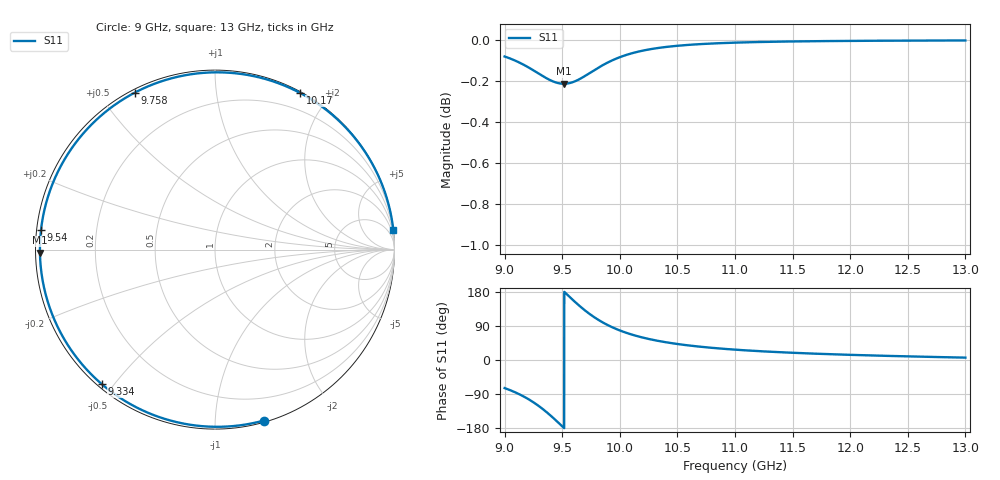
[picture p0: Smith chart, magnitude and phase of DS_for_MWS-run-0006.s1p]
! TOUCHSTONE file generated by CST DESIGN STUDIO
! Date and time: Tue Feb  4 15:47:18 2025
! Project name: C:\Work\MatlabApps\UnitCellOptimizationMatlab\CST\unitcell.cst
! Tree item: Tasks\Sweep1\SPara1\S-Parameters
! Header version: 2024
! Port assignment regex: !\s*Touchstone port\s*([0-9]+)\s*=\s*(CST MWS port|CST DES external port|CST DES block port)\s*(.+)\s* \(\"(.*)\"\)(\s*mode\s*([0-9]+))?.*
! Touchstone port assignment:
! Touchstone port 1 = CST DES external port 1 ("")
# GHz S MA R 50
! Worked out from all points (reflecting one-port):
!   4001 points, 9 GHz to 13 GHz, reference 50 ohm
!   lowest |S11| = -0.2 dB at 9.514 GHz (marker M1), VSWR 80.74, Z = 0.619 - j0.438 ohm
!   phase of S11 starts at -74 deg and turns -280 deg over the sweep
!   S11 on the Smith chart (normalised r, x): 9 GHz: 0.01, -1.32; 9.334 GHz: 0.01, -0.47; 9.54 GHz: 0.01, +0.06; 9.758 GHz: 0.01, +0.61; 10.17 GHz: 0.01, +1.68; 13 GHz: 0, +18
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9  0.9905 -74.1
9.09  0.9883 -85.0
9.194  0.985 -101.1
9.267  0.9822 -115.1
9.334  0.9796 -130.1
9.379  0.978 -141.3
9.426  0.9767 -153.9
9.464  0.9759 -164.6
9.5  0.9756 -174.9
9.514  0.9755 -179.0
9.54  0.9756 173.5
9.594  0.9765 158.0
9.655  0.9782 141.5
9.706  0.9801 128.8
9.758  0.9822 117.1
9.809  0.9842 106.9
9.864  0.9862 97.1
10  0.9901 78.0
10.082  0.9919 69.2
10.17  0.9934 61.4
10.32  0.9951 51.2
10.5  0.9965 42.2
10.722  0.9975 34.3
11  0.9982 27.3
11.5  0.9989 19.1
12  0.9992 13.6
12.5  0.9994 9.6
13  0.9995 6.3
